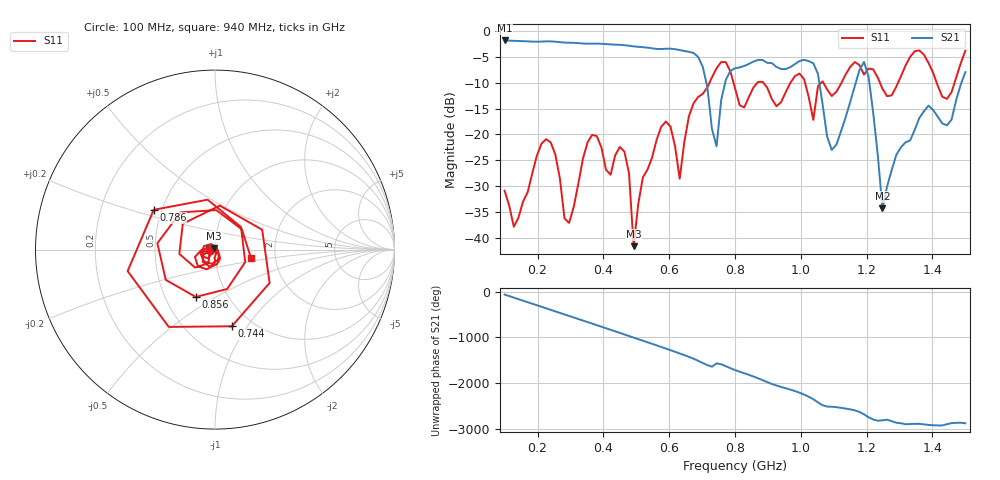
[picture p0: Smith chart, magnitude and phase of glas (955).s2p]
! NanoVNA-App
! Date: 2025-09-25 16:02:54
! Start: 100MHz Stop: 1,5GHz Points: 101
! S-Parameter data: F S11 S21 S12 S22
# Hz S RI R 50
!  Frequency  S11_Real  S11_Imag  S21_Real  S21_Imag  S12_Real  S12_Imag  S22_Real  S22_Imag
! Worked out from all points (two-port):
!   101 points, 100 MHz to 1.5 GHz, reference 50 ohm
!   highest |S21| = -1.80 dB at 100 MHz (marker M1); lowest = -34.4 dB at 1.248 GHz (marker M2)
!   |S21| within 3 dB of the highest: start of sweep to 684.7 MHz
!   lowest |S11| = -41.7 dB at 492 MHz (marker M3), VSWR 1.02, Z = 49.5 + j0.632 ohm
!   |S11| at or under -10 dB: start of sweep to 722.5 MHz; 795.5 MHz to 868 MHz (72.4 MHz wide, 8.7 % of centre); 886.3 MHz to 968.4 MHz (82.12 MHz wide, 8.86 % of centre) (the widest 3 of 7)
!   S12 and S22 are empty: the file has one direction only
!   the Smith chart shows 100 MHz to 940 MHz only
!   S11 on the Smith chart (normalised r, x): 100 MHz: 0.94, -0.01; 744 MHz: 0.81, -0.85; 786 MHz: 0.45, +0.24; 856 MHz: 0.71, -0.41; 940 MHz: 1.49, -0.14
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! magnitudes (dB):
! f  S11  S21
! 100 MHz  -30.9  -1.8
! 128 MHz  -37.9  -1.9
! 226 MHz  -20.9  -2.0
! 296 MHz  -37.2  -2.2
! 338 MHz  -24.7  -2.4
! 464 MHz  -23.3  -2.7
! 492 MHz  -41.7  -3.0
! 576 MHz  -18.5  -3.5
! 632 MHz  -28.6  -3.7
! 702 MHz  -12.2  -6.9
! 744 MHz  -7.2  -22.3
! 786 MHz  -7.8  -7.7
! 800 MHz  -11.0  -7.2
! 856 MHz  -10.9  -5.9
! 940 MHz  -13.8  -7.3
! 996 MHz  -8.2  -5.8
! 1.038 GHz  -17.2  -6.2
! 1.094 GHz  -12.6  -23.0
! 1.192 GHz  -8.4  -6.0
! 1.248 GHz  -11.2  -34.4
! 1.276 GHz  -12.4  -26.9
! 1.5 GHz  -3.8  -7.9
